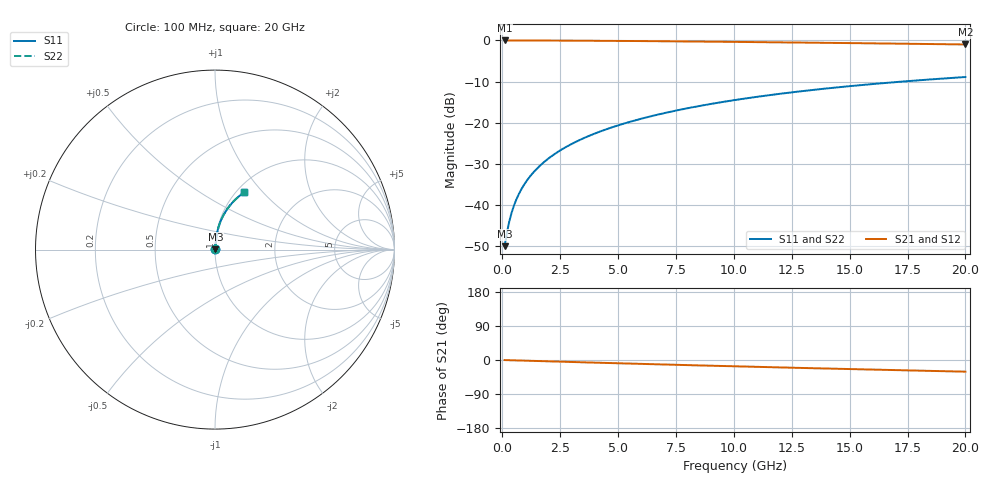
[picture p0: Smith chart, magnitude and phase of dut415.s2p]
! Touchstone file exported from HFSS 2024.1.0
!  File:  C:/UserFiles/LocalFiles/RDL_TSV_Batchsim/temp_RDL_top_415_1779675721.aedt
!  Generated:  10:24:32 AM May 25, 2026
!  Design:  RDL_top
!  Project:  temp_RDL_top_415_1779675721
!  Setup:  Setup1
!  Solution:  Sweep
! Variables:
!  dtsv = 10.80580581um
!  hbump = 3um
!  htsv = 83.77um
!  ldown = 100um
!  lrdl = 355.83um
!  p = 40
!  p1 = 58.05um
!  rhole = 1um
!  t = 450um
!  tdown = 3.915915916um
!  trdl = 3.15um
!  wdown = 15.38538539um
!  wrdl = 17.13um
# GHz S MA R 50.000000
! Terminal data exported
! Port[1] = Box2_T1
! Port[2] = Box2_T2
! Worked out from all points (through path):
!   200 points, 100 MHz to 20 GHz, reference 50 ohm
!   highest |S21| = -0.02 dB at 100 MHz (marker M1); lowest = -1.0 dB at 20 GHz (marker M2)
!   group delay of S21, straight-line fit = 4.26 ps
!   lowest |S11| = -50.0 dB at 100 MHz (marker M3), VSWR 1.01, Z = 50.3 + j0.194 ohm
!   |S11| at or under -10 dB: start of sweep to 17.28 GHz
!   |S22| runs from -50.0 to -8.9 dB; largest |S21 - S12| = 4.1e-15
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0.1  0.003177 37.4  0.9975 -0.2  0.9975 -0.2  0.003177 37.4
! Gamma 0 0 0 0
! Port Impedance 50 0 50 0
0.2  0.004626 56.0  0.9974 -0.4  0.9974 -0.4  0.004626 56.0
0.3  0.006305 65.0  0.9973 -0.5  0.9973 -0.5  0.006305 65.0
0.4  0.008051 70.0  0.9972 -0.7  0.9972 -0.7  0.008051 70.0
0.5  0.009818 73.2  0.9971 -0.9  0.9971 -0.9  0.009818 73.2
0.6  0.01159 75.4  0.997 -1.1  0.997 -1.1  0.01159 75.4
0.8  0.01516 78.3  0.9968 -1.4  0.9968 -1.4  0.01516 78.3
1.1  0.02056 80.7  0.9964 -2.0  0.9964 -2.0  0.02056 80.7
1.5  0.02781 82.4  0.9958 -2.7  0.9958 -2.7  0.02781 82.4
1.8  0.03328 83.1  0.9953 -3.2  0.9953 -3.2  0.03328 83.1
2.1  0.03878 83.5  0.9947 -3.7  0.9947 -3.7  0.03878 83.5
2.7  0.04984 83.9  0.9932 -4.7  0.9932 -4.7  0.04984 83.9
3.5  0.06471 83.8  0.9908 -6.1  0.9908 -6.1  0.06471 83.8
4.2  0.07783 83.5  0.9883 -7.3  0.9883 -7.3  0.07784 83.5
5  0.09293 82.9  0.9851 -8.7  0.9851 -8.7  0.09294 82.9
5.9  0.11 82.0  0.9811 -10.1  0.9811 -10.1  0.11 82.0
6.8  0.1272 81.0  0.9766 -11.6  0.9766 -11.6  0.1272 81.0
8.4  0.1576 79.1  0.968 -14.1  0.968 -14.1  0.1576 79.1
10.1  0.1897 76.8  0.9582 -16.8  0.9582 -16.8  0.1897 76.8
13.4  0.2501 72.1  0.9375 -21.7  0.9375 -21.7  0.2501 72.1
16.7  0.3068 67.4  0.9153 -26.3  0.9153 -26.3  0.3068 67.4
20  0.3591 62.8  0.892 -30.8  0.892 -30.8  0.3591 62.8
